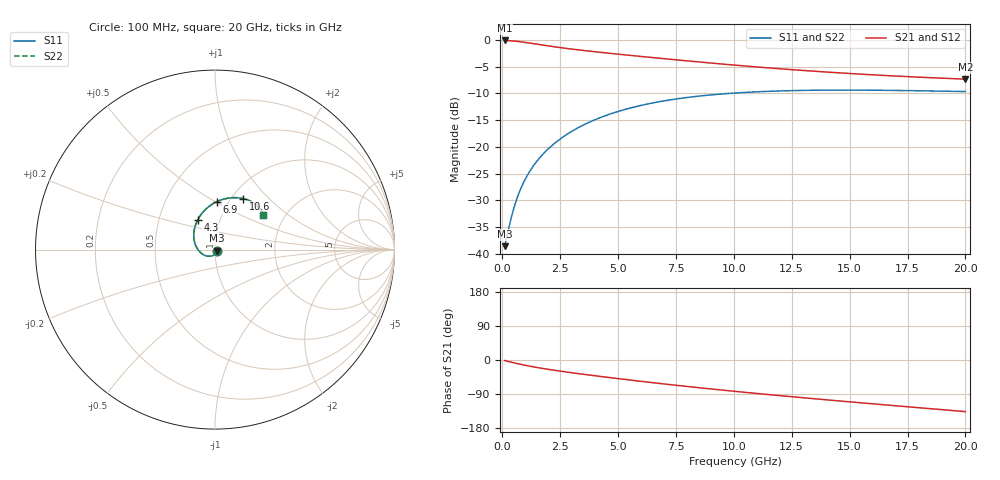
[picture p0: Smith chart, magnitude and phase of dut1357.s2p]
! Touchstone file exported from HFSS 2024.1.0
!  File:  C:/UserFiles/LocalFiles/RDL_TSV_Batchsim/temp_RDL_TSV_1357_1780395472.aedt
!  Generated:  06:32:58 PM Jun  2, 2026
!  Design:  RDL_TSV
!  Project:  temp_RDL_TSV_1357_1780395472
!  Setup:  Setup1
!  Solution:  Sweep
! Variables:
!  dtsv = 14.44um
!  hbump = 3um
!  htsv = 79.77um
!  ldown = 223.8um
!  lrdl = 213.9um
!  p = 40
!  p1 = 58.35um
!  rhole = 10um
!  subl = 1527um
!  t = 450um
!  tdown = 2.64um
!  trdl = 2.88um
!  viad = 10um
!  wdown = 27.24um
!  wrdl = 15.24um
!  xbump = 18um
# GHz S MA R 50.000000
! Terminal data exported
! Port[1] = TM1_1_T1
! Port[2] = TM1_4_T1
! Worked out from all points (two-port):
!   200 points, 100 MHz to 20 GHz, reference 50 ohm
!   highest |S21| = -0.10 dB at 100 MHz (marker M1); lowest = -7.3 dB at 20 GHz (marker M2)
!   |S21| within 3 dB of the highest: start of sweep to 6.012 GHz
!   lowest |S11| = -38.6 dB at 100 MHz (marker M3), VSWR 1.02, Z = 51 - j0.588 ohm
!   |S11| at or under -10 dB: start of sweep to 9.793 GHz
!   |S22| runs from -38.6 to -9.4 dB; largest |S21 - S12| = 8.8e-15
!   S11 on the Smith chart (normalised r, x): 100 MHz: 1.02, -0.01; 4.3 GHz: 0.78, +0.27; 6.9 GHz: 0.88, +0.51; 10.6 GHz: 1.13, +0.72; 20 GHz: 1.54, +0.68
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0.1  0.01182 -29.2  0.9886 -1.5  0.9886 -1.5  0.01182 -29.2
! Gamma 0 0 0 0
! Port Impedance 50 0 50 0
0.4  0.02239 -82.7  0.9806 -6.0  0.9806 -6.0  0.02239 -82.7
0.6  0.03146 -102.9  0.9715 -8.8  0.9715 -8.8  0.03146 -102.9
0.7  0.03615 -111.2  0.966 -10.2  0.966 -10.2  0.03615 -111.2
0.9  0.04561 -125.8  0.9539 -12.8  0.9539 -12.8  0.04561 -125.8
1.2  0.05978 -144.2  0.9336 -16.5  0.9336 -16.5  0.05979 -144.2
1.4  0.06913 -154.8  0.9195 -18.7  0.9195 -18.7  0.06915 -154.8
1.7  0.08298 -168.9  0.8985 -21.9  0.8985 -21.9  0.083 -168.9
2.2  0.1055 171.6  0.8658 -26.7  0.8658 -26.7  0.1055 171.6
2.8  0.1315 153.1  0.8315 -31.9  0.8315 -31.9  0.1315 153.1
3.5  0.1601 136.1  0.7972 -37.7  0.7972 -37.7  0.1602 136.0
4.3  0.1904 120.8  0.7631 -43.9  0.7631 -43.9  0.1905 120.8
5.5  0.2302 103.2  0.7178 -52.8  0.7178 -52.8  0.2303 103.2
6.8  0.2651 88.7  0.6736 -62.0  0.6736 -62.0  0.2653 88.7
6.9  0.2674 87.7  0.6704 -62.7  0.6704 -62.7  0.2676 87.7
8.4  0.2971 75.1  0.6249 -72.6  0.6249 -72.6  0.2972 75.1
10.1  0.3195 64.0  0.5797 -83.1  0.5797 -83.1  0.3197 64.0
10.6  0.3242 61.3  0.5677 -86.1  0.5677 -86.1  0.3245 61.3
12  0.3337 54.6  0.5372 -94.1  0.5372 -94.1  0.3339 54.6
13.4  0.3385 49.2  0.5109 -101.9  0.5109 -101.9  0.3388 49.3
16.7  0.3378 40.5  0.4629 -119.3  0.4629 -119.3  0.338 40.6
20  0.3292 36.4  0.43 -136.2  0.43 -136.2  0.3294 36.4
